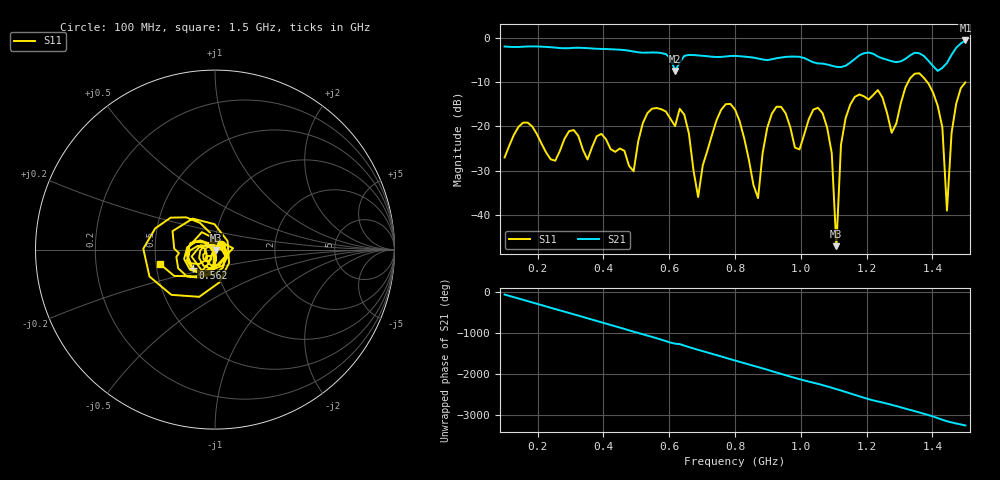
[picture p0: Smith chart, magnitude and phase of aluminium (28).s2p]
! NanoVNA-App
! Date: 2025-09-25 14:55:29
! Start: 100MHz Stop: 1,5GHz Points: 101
! S-Parameter data: F S11 S21 S12 S22
# Hz S RI R 50
!  Frequency  S11_Real  S11_Imag  S21_Real  S21_Imag  S12_Real  S12_Imag  S22_Real  S22_Imag
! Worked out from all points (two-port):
!   101 points, 100 MHz to 1.5 GHz, reference 50 ohm
!   highest |S21| = -0.55 dB at 1.5 GHz (marker M1); lowest = -7.4 dB at 618 MHz (marker M2)
!   |S21| within 3 dB of the highest: start of sweep to 585.1 MHz; 1.46 GHz to end of sweep (the widest 2 of 4)
!   lowest |S11| = -47.1 dB at 1.108 GHz (marker M3), VSWR 1.01, Z = 50.4 - j0.192 ohm
!   |S11| at or under -10 dB: start of sweep to 1.326 GHz; 1.385 GHz to end of sweep
!   S12 and S22 are empty: the file has one direction only
!   S11 on the Smith chart (normalised r, x): 100 MHz: 1.07, +0.06; 562 MHz: 0.76, -0.16; 1.5 GHz: 0.53, -0.10
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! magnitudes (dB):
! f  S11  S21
! 100 MHz  -27.0  -1.9
! 338 MHz  -25.3  -2.2
! 492 MHz  -30.1  -3.1
! 562 MHz  -15.8  -3.3
! 576 MHz  -16.1  -3.4
! 618 MHz  -19.9  -7.4
! 646 MHz  -17.3  -4.0
! 688 MHz  -36.0  -3.9
! 800 MHz  -16.2  -4.0
! 870 MHz  -36.2  -4.6
! 912 MHz  -17.1  -4.8
! 1.038 GHz  -16.2  -5.5
! 1.094 GHz  -26.0  -6.3
! 1.108 GHz  -47.1  -6.5
! 1.122 GHz  -24.1  -6.6
! 1.15 GHz  -15.1  -5.6
! 1.276 GHz  -21.4  -5.2
! 1.388 GHz  -10.3  -5.2
! 1.43 GHz  -20.2  -6.7
! 1.444 GHz  -39.0  -5.7
! 1.458 GHz  -21.5  -3.8
! 1.5 GHz  -10.0  -0.6
